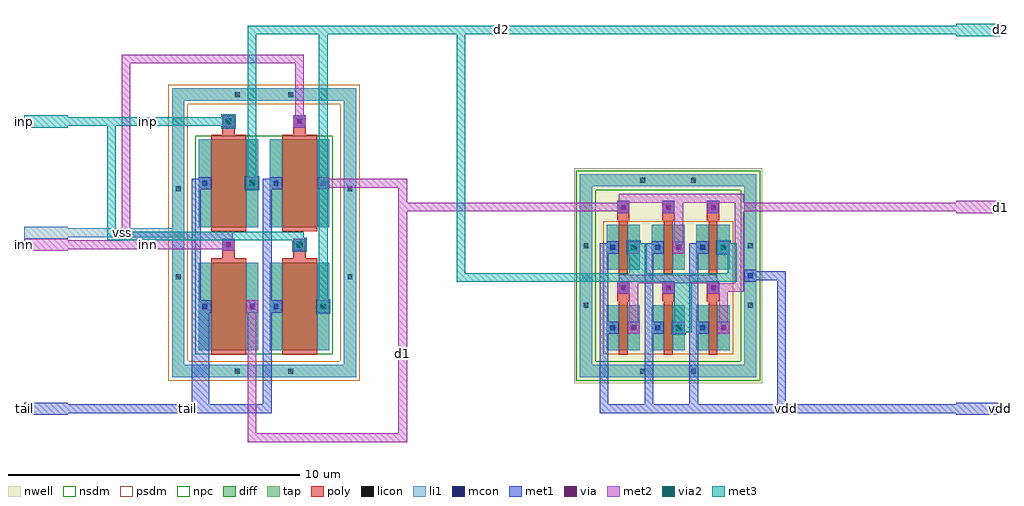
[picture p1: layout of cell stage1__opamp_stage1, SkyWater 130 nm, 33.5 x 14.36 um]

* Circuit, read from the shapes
.subckt stage1__opamp_stage1 d1 d2 inn inp tail vdd vss
XM1 d1 inn tail vss sky130_fd_pr__nfet_01v8 w=3.015 l=1.2 m=2
XM2 d2 inp tail vss sky130_fd_pr__nfet_01v8 w=3.015 l=1.2 m=2
XM3 d1 d1 vdd vdd sky130_fd_pr__pfet_01v8 w=1.545 l=0.3 m=3
XM4 d2 d1 vdd vdd sky130_fd_pr__pfet_01v8 w=1.545 l=0.3 m=3
.ends

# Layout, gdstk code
import gdstk
lib = gdstk.Library(unit=1e-6, precision=1e-09)
def R(c, l, rs):  # rectangles x0, y0, x1, y1
    for r in rs: c.add(gdstk.rectangle(r[:2], r[2:], *l))
def A(c, l, x, y, w, h, nx, ny, dx, dy):  # array of equal rectangles
    R(c, l, [(x+i*dx, y+j*dy, x+i*dx+w, y+j*dy+h) for i in range(nx) for j in range(ny)])
def P(c, l, *ps):  # polygons
    for p in ps: c.add(gdstk.Polygon(p, *l))
nwell = (64, 20)
diff = (65, 20)
tap = (65, 44)
poly = (66, 20)
licon = (66, 44)
li1 = (67, 20)
mcon = (67, 44)
met1 = (68, 20)
via = (68, 44)
met2 = (69, 20)
via2 = (69, 44)
met3 = (70, 20)
nsdm = (93, 44)
psdm = (94, 20)
npc = (95, 20)

pin_vdd__stub_metal2 = lib.new_cell('pin_vdd__stub_metal2')
R(pin_vdd__stub_metal2, met1, [(0,0,1.5,0.42)])

pin_d2__stub_metal4 = lib.new_cell('pin_d2__stub_metal4')
R(pin_d2__stub_metal4, met3, [(0,0,1.5,0.42)])

pin_d1__stub_metal3 = lib.new_cell('pin_d1__stub_metal3')
R(pin_d1__stub_metal3, met2, [(0,0,1.5,0.42)])

pin_inp__stub_metal4 = lib.new_cell('pin_inp__stub_metal4')
R(pin_inp__stub_metal4, met3, [(0,0,1.5,0.42)])

pin_vss__stub_metal = lib.new_cell('pin_vss__stub_metal')
R(pin_vss__stub_metal, li1, [(0,0,1.5,0.42)])

pin_inn__stub_metal3 = lib.new_cell('pin_inn__stub_metal3')
R(pin_inn__stub_metal3, met2, [(0,0,1.5,0.42)])

pin_tail__stub_metal2 = lib.new_cell('pin_tail__stub_metal2')
R(pin_tail__stub_metal2, met1, [(0,0,1.5,0.42)])

mp34__stage1_mirror = lib.new_cell('mp34__stage1_mirror')
R(mp34__stage1_mirror, nwell, [(-1.12,-1.12,5.34,6.25)])
A(mp34__stage1_mirror, diff, 0, 0, 1.14, 1.545, 3, 2, 1.54, 2.765)
R(mp34__stage1_mirror, tap, [(-0.92,-0.92,5.14,-0.5), (-0.92,-0.5,-0.5,5.63), (4.72,-0.5,5.14,5.63), (-0.92,5.63,5.14,6.05)])
A(mp34__stage1_mirror, poly, 0.42, -0.15, 0.3, 1.845, 3, 2, 1.54, 2.765)
A(mp34__stage1_mirror, poly, 0.36, 1.695, 0.42, 0.67, 3, 2, 1.54, 2.765)
A(mp34__stage1_mirror, licon, 0.485, 2.07, 0.17, 0.17, 3, 2, 1.54, 2.765)
R(mp34__stage1_mirror, licon, [(1.155,-0.795,1.325,-0.625), (2.895,-0.795,3.065,-0.625), (0.125,0.685,0.295,0.855), (0.845,0.685,1.015,0.855), (1.665,0.685,1.835,0.855), (2.385,0.685,2.555,0.855), (3.205,0.685,3.375,0.855), (3.925,0.685,4.095,0.855), (-0.795,1.46,-0.625,1.63), (4.845,1.46,5.015,1.63), (0.125,3.455,0.295,3.625), (0.845,3.455,1.015,3.625), (1.665,3.455,1.835,3.625), (2.385,3.455,2.555,3.625), (3.205,3.455,3.375,3.625), (3.925,3.455,4.095,3.625), (-0.795,3.5,-0.625,3.67), (4.845,3.5,5.015,3.67), (1.155,5.755,1.325,5.925), (2.895,5.755,3.065,5.925)])
A(mp34__stage1_mirror, li1, 0.36, 1.945, 0.42, 0.42, 3, 2, 1.54, 2.765)
R(mp34__stage1_mirror, li1, [(-0.92,-0.92,5.14,-0.5), (-0.92,-0.5,-0.5,5.63), (4.72,-0.5,5.14,5.63), (0,0,0.42,1.545), (0.72,0,1.14,1.545), (1.54,0,1.96,1.545), (2.26,0,2.68,1.545), (3.08,0,3.5,1.545), (3.8,0,4.22,1.545), (0,2.765,0.42,4.31), (0.72,2.765,1.14,4.31), (1.54,2.765,1.96,4.31), (2.26,2.765,2.68,4.31), (3.08,2.765,3.5,4.31), (3.8,2.765,4.22,4.31), (-0.92,5.63,5.14,6.05)])
R(mp34__stage1_mirror, nsdm, [(-1.045,-1.045,5.265,-0.375), (-1.045,-0.375,-0.375,5.505), (4.595,-0.375,5.265,5.505), (-1.045,5.505,5.265,6.175)])
R(mp34__stage1_mirror, psdm, [(-0.125,-0.125,4.345,4.435)])
A(mp34__stage1_mirror, npc, 0.385, 1.97, 0.37, 0.37, 3, 2, 1.54, 2.765)

fe_masks__stage1_fe_mask = lib.new_cell('fe_masks__stage1_fe_masks')
R(fe_masks__stage1_fe_mask, poly, [(0.42,-0.15,1.62,0), (2.86,-0.15,4.06,0), (0.42,3.015,1.62,3.165), (2.86,3.015,4.06,3.165), (0.42,4.085,1.62,4.235), (2.86,4.085,4.06,4.235), (0.42,7.25,1.62,7.4), (2.86,7.25,4.06,7.4)])
R(fe_masks__stage1_fe_mask, nsdm, [(-0.125,-0.125,4.605,7.375)])
R(fe_masks__stage1_fe_mask, psdm, [(-1.045,-1.045,5.525,-0.375), (-1.045,-0.375,-0.375,8.445), (4.855,-0.375,5.525,8.445), (-1.045,8.445,5.525,9.115)])
R(fe_masks__stage1_fe_mask, npc, [(0.835,3.44,1.205,3.81), (3.275,3.44,3.645,3.81), (0.835,7.675,1.205,8.045), (3.275,7.675,3.645,8.045)])

diff_pair = lib.new_cell('diff_pair')
R(diff_pair, diff, [(0,0,2.04,3.015), (2.44,0,4.48,3.015), (0,4.235,2.04,7.25), (2.44,4.235,4.48,7.25)])
P(diff_pair, tap, [(-0.92,-0.92),(-0.92,8.57),(-0.5,8.57),(-0.5,-0.5),(4.98,-0.5),(4.98,8.57),(-0.92,8.57),(-0.92,8.99),(5.4,8.99),(5.4,-0.92)])
R(diff_pair, poly, [(0.42,0,1.62,3.015), (2.86,0,4.06,3.015), (0.81,3.015,1.23,3.835), (3.25,3.015,3.67,3.835), (0.42,4.235,1.62,7.25), (2.86,4.235,4.06,7.25), (0.81,7.25,1.23,8.07), (3.25,7.25,3.67,8.07)])
R(diff_pair, licon, [(1.24,-0.795,1.41,-0.625), (3.07,-0.795,3.24,-0.625), (0.125,1.425,0.295,1.595), (1.745,1.425,1.915,1.595), (2.565,1.425,2.735,1.595), (4.185,1.425,4.355,1.595), (-0.795,2.44,-0.625,2.61), (5.105,2.44,5.275,2.61), (0.935,3.54,1.105,3.71), (3.375,3.54,3.545,3.71), (-0.795,5.46,-0.625,5.63), (5.105,5.46,5.275,5.63), (0.125,5.655,0.295,5.825), (1.745,5.655,1.915,5.825), (2.565,5.655,2.735,5.825), (4.185,5.655,4.355,5.825), (0.935,7.775,1.105,7.945), (3.375,7.775,3.545,7.945), (1.24,8.695,1.41,8.865), (3.07,8.695,3.24,8.865)])
R(diff_pair, li1, [(0,0,0.42,3.015), (1.62,0,2.04,3.015), (2.44,0,2.86,3.015), (4.06,0,4.48,3.015), (0.81,3.415,1.23,3.835), (3.25,3.415,3.67,3.835), (0,4.235,0.42,7.25), (1.62,4.235,2.04,7.25), (2.44,4.235,2.86,7.25), (4.06,4.235,4.48,7.25), (0.81,7.65,1.23,8.07), (3.25,7.65,3.67,8.07)])
P(diff_pair, li1, [(-0.92,-0.92),(-0.92,8.57),(-0.5,8.57),(-0.5,-0.5),(4.98,-0.5),(4.98,8.57),(-0.92,8.57),(-0.92,8.99),(5.4,8.99),(5.4,-0.92)])

mn12__stage1_input_pair = lib.new_cell('mn12__stage1_input_pair')
mn12__stage1_input_pair.add(gdstk.Reference(diff_pair, (0,0)))

stage1__opamp_stage1 = lib.new_cell('stage1__opamp_stage1')
R(stage1__opamp_stage1, li1, [(14,0.565,14.42,0.985), (14,0.565,14.42,0.985), (14.72,0.565,15.14,0.985), (15.54,0.565,15.96,0.985), (15.54,0.565,15.96,0.985), (16.26,0.565,16.68,0.985), (16.26,0.565,16.68,0.985), (17.08,0.565,17.5,0.985), (17.08,0.565,17.5,0.985), (17.8,0.565,18.22,0.985), (0,1.295,0.42,1.715), (0,1.295,0.42,1.715), (0,1.295,0.42,1.715), (1.62,1.295,2.04,1.715), (2.44,1.295,2.86,1.715), (2.44,1.295,2.86,1.715), (4.06,1.295,4.48,1.715), (14.36,1.945,14.78,2.365), (14.36,1.945,14.78,2.365), (15.9,1.945,16.32,2.365), (15.9,1.945,16.32,2.365), (17.44,1.945,17.86,2.365), (17.44,1.945,17.86,2.365), (17.44,1.945,17.86,2.365), (18.72,2.355,19.14,2.775), (14,3.325,14.42,3.745), (14.72,3.325,15.14,3.745), (14.72,3.325,15.14,3.745), (15.54,3.325,15.96,3.745), (16.26,3.325,16.68,3.745), (17.08,3.325,17.5,3.745), (17.8,3.325,18.22,3.745), (0.81,3.415,1.23,3.835), (0.81,3.415,1.23,3.835), (3.25,3.415,3.67,3.835), (14.36,4.71,14.78,5.13), (14.36,4.71,14.78,5.13), (14.36,4.71,14.78,5.13), (15.9,4.71,16.32,5.13), (15.9,4.71,16.32,5.13), (15.9,4.71,16.32,5.13), (17.44,4.71,17.86,5.13), (17.44,4.71,17.86,5.13), (17.44,4.71,17.86,5.13), (0,5.53,0.42,5.95), (1.62,5.53,2.04,5.95), (1.62,5.53,2.04,5.95), (2.44,5.53,2.86,5.95), (4.06,5.53,4.48,5.95), (0.81,7.65,1.23,8.07), (0.81,7.65,1.23,8.07), (3.25,7.65,3.67,8.07)])
R(stage1__opamp_stage1, mcon, [(14.125,0.69,14.295,0.86), (14.125,0.69,14.295,0.86), (14.845,0.69,15.015,0.86), (15.665,0.69,15.835,0.86), (15.665,0.69,15.835,0.86), (16.385,0.69,16.555,0.86), (16.385,0.69,16.555,0.86), (17.205,0.69,17.375,0.86), (17.205,0.69,17.375,0.86), (17.925,0.69,18.095,0.86), (0.125,1.42,0.295,1.59), (0.125,1.42,0.295,1.59), (0.125,1.42,0.295,1.59), (1.745,1.42,1.915,1.59), (2.565,1.42,2.735,1.59), (2.565,1.42,2.735,1.59), (4.185,1.42,4.355,1.59), (14.485,2.07,14.655,2.24), (14.485,2.07,14.655,2.24), (16.025,2.07,16.195,2.24), (16.025,2.07,16.195,2.24), (17.565,2.07,17.735,2.24), (17.565,2.07,17.735,2.24), (17.565,2.07,17.735,2.24), (18.845,2.48,19.015,2.65), (14.125,3.45,14.295,3.62), (14.845,3.45,15.015,3.62), (14.845,3.45,15.015,3.62), (15.665,3.45,15.835,3.62), (16.385,3.45,16.555,3.62), (17.205,3.45,17.375,3.62), (17.925,3.45,18.095,3.62), (0.935,3.54,1.105,3.71), (0.935,3.54,1.105,3.71), (3.375,3.54,3.545,3.71), (14.485,4.835,14.655,5.005), (14.485,4.835,14.655,5.005), (14.485,4.835,14.655,5.005), (16.025,4.835,16.195,5.005), (16.025,4.835,16.195,5.005), (16.025,4.835,16.195,5.005), (17.565,4.835,17.735,5.005), (17.565,4.835,17.735,5.005), (17.565,4.835,17.735,5.005), (0.125,5.655,0.295,5.825), (1.745,5.655,1.915,5.825), (1.745,5.655,1.915,5.825), (2.565,5.655,2.735,5.825), (4.185,5.655,4.355,5.825), (0.935,7.775,1.105,7.945), (0.935,7.775,1.105,7.945), (3.375,7.775,3.545,7.945)])
R(stage1__opamp_stage1, met1, [(14,0.565,14.42,0.985), (14,0.565,14.42,0.985), (14.72,0.565,15.14,0.985), (14.72,0.565,15.14,0.985), (15.54,0.565,15.96,0.985), (15.54,0.565,15.96,0.985), (16.26,0.565,16.68,0.985), (16.26,0.565,16.68,0.985), (16.26,0.565,16.68,0.985), (16.26,0.565,16.68,0.985), (17.08,0.565,17.5,0.985), (17.08,0.565,17.5,0.985), (17.8,0.565,18.22,0.985), (17.8,0.565,18.22,0.985), (0,1.295,0.42,1.715), (0,1.295,0.42,1.715), (0,1.295,0.42,1.715), (1.62,1.295,2.04,1.715), (1.62,1.295,2.04,1.715), (2.44,1.295,2.86,1.715), (2.44,1.295,2.86,1.715), (4.06,1.295,4.48,1.715), (4.06,1.295,4.48,1.715), (14.36,1.945,14.78,2.365), (14.36,1.945,14.78,2.365), (14.36,1.945,14.78,2.365), (14.36,1.945,14.78,2.365), (15.9,1.945,16.32,2.365), (15.9,1.945,16.32,2.365), (15.9,1.945,16.32,2.365), (15.9,1.945,16.32,2.365), (17.44,1.945,17.86,2.365), (17.44,1.945,17.86,2.365), (17.44,1.945,17.86,2.365), (17.44,1.945,17.86,2.365), (17.44,1.945,17.86,2.365), (17.44,1.945,17.86,2.365), (18.72,2.355,19.14,2.775), (14,3.325,14.42,3.745), (14.72,3.325,15.14,3.745), (14.72,3.325,15.14,3.745), (14.72,3.325,15.14,3.745), (14.72,3.325,15.14,3.745), (15.54,3.325,15.96,3.745), (16.26,3.325,16.68,3.745), (16.26,3.325,16.68,3.745), (17.08,3.325,17.5,3.745), (17.8,3.325,18.22,3.745), (17.8,3.325,18.22,3.745), (0.81,3.415,1.23,3.835), (0.81,3.415,1.23,3.835), (0.81,3.415,1.23,3.835), (0.81,3.415,1.23,3.835), (3.25,3.415,3.67,3.835), (3.25,3.415,3.67,3.835), (14.36,4.71,14.78,5.13), (14.36,4.71,14.78,5.13), (14.36,4.71,14.78,5.13), (14.36,4.71,14.78,5.13), (14.36,4.71,14.78,5.13), (14.36,4.71,14.78,5.13), (15.9,4.71,16.32,5.13), (15.9,4.71,16.32,5.13), (15.9,4.71,16.32,5.13), (15.9,4.71,16.32,5.13), (15.9,4.71,16.32,5.13), (15.9,4.71,16.32,5.13), (17.44,4.71,17.86,5.13), (17.44,4.71,17.86,5.13), (17.44,4.71,17.86,5.13), (17.44,4.71,17.86,5.13), (17.44,4.71,17.86,5.13), (17.44,4.71,17.86,5.13), (0,5.53,0.42,5.95), (1.62,5.53,2.04,5.95), (1.62,5.53,2.04,5.95), (1.62,5.53,2.04,5.95), (1.62,5.53,2.04,5.95), (2.44,5.53,2.86,5.95), (4.06,5.53,4.48,5.95), (4.06,5.53,4.48,5.95), (0.81,7.65,1.23,8.07), (0.81,7.65,1.23,8.07), (0.81,7.65,1.23,8.07), (0.81,7.65,1.23,8.07), (3.25,7.65,3.67,8.07), (3.25,7.65,3.67,8.07)])
A(stage1__opamp_stage1, via, 14.855, 3.46, 0.15, 0.15, 3, 1, 1.54, 0)
R(stage1__opamp_stage1, via, [(14.855,0.7,15.005,0.85), (16.395,0.7,16.545,0.85), (16.395,0.7,16.545,0.85), (17.935,0.7,18.085,0.85), (1.755,1.43,1.905,1.58), (4.195,1.43,4.345,1.58), (14.495,2.08,14.645,2.23), (14.495,2.08,14.645,2.23), (16.035,2.08,16.185,2.23), (16.035,2.08,16.185,2.23), (17.575,2.08,17.725,2.23), (17.575,2.08,17.725,2.23), (17.575,2.08,17.725,2.23), (14.855,3.46,15.005,3.61), (0.945,3.55,1.095,3.7), (0.945,3.55,1.095,3.7), (3.385,3.55,3.535,3.7), (14.495,4.845,14.645,4.995), (14.495,4.845,14.645,4.995), (14.495,4.845,14.645,4.995), (16.035,4.845,16.185,4.995), (16.035,4.845,16.185,4.995), (16.035,4.845,16.185,4.995), (17.575,4.845,17.725,4.995), (17.575,4.845,17.725,4.995), (17.575,4.845,17.725,4.995), (1.755,5.665,1.905,5.815), (1.755,5.665,1.905,5.815), (4.195,5.665,4.345,5.815), (0.945,7.785,1.095,7.935), (0.945,7.785,1.095,7.935), (3.385,7.785,3.535,7.935)])
A(stage1__opamp_stage1, met2, 14.72, 3.325, 0.42, 0.42, 3, 1, 1.54, 0)
R(stage1__opamp_stage1, met2, [(14.72,0.565,15.14,0.985), (16.26,0.565,16.68,0.985), (16.26,0.565,16.68,0.985), (16.26,0.565,16.68,0.985), (16.26,0.565,16.68,0.985), (17.8,0.565,18.22,0.985), (1.62,1.295,2.04,1.715), (4.06,1.295,4.48,1.715), (4.06,1.295,4.48,1.715), (14.36,1.945,14.78,2.365), (14.36,1.945,14.78,2.365), (15.9,1.945,16.32,2.365), (15.9,1.945,16.32,2.365), (17.44,1.945,17.86,2.365), (17.44,1.945,17.86,2.365), (17.44,1.945,17.86,2.365), (14.72,3.325,15.14,3.745), (14.72,3.325,15.14,3.745), (14.72,3.325,15.14,3.745), (17.8,3.325,18.22,3.745), (0.81,3.415,1.23,3.835), (0.81,3.415,1.23,3.835), (3.25,3.415,3.67,3.835), (3.25,3.415,3.67,3.835), (14.36,4.71,14.78,5.13), (14.36,4.71,14.78,5.13), (14.36,4.71,14.78,5.13), (15.9,4.71,16.32,5.13), (15.9,4.71,16.32,5.13), (15.9,4.71,16.32,5.13), (17.44,4.71,17.86,5.13), (17.44,4.71,17.86,5.13), (17.44,4.71,17.86,5.13), (1.62,5.53,2.04,5.95), (1.62,5.53,2.04,5.95), (1.62,5.53,2.04,5.95), (1.62,5.53,2.04,5.95), (4.06,5.53,4.48,5.95), (0.81,7.65,1.23,8.07), (0.81,7.65,1.23,8.07), (0.81,7.65,1.23,8.07), (0.81,7.65,1.23,8.07), (3.25,7.65,3.67,8.07)])
R(stage1__opamp_stage1, via2, [(16.37,0.675,16.57,0.875), (16.37,0.675,16.57,0.875), (4.17,1.405,4.37,1.605), (14.83,3.435,15.03,3.635), (14.83,3.435,15.03,3.635), (17.91,3.435,18.11,3.635), (3.36,3.525,3.56,3.725), (1.73,5.64,1.93,5.84), (1.73,5.64,1.93,5.84), (0.92,7.76,1.12,7.96), (0.92,7.76,1.12,7.96)])
R(stage1__opamp_stage1, met3, [(16.225,0.53,16.715,1.02), (16.225,0.53,16.715,1.02), (4.025,1.26,4.515,1.75), (14.685,3.29,15.175,3.78), (14.685,3.29,15.175,3.78), (17.765,3.29,18.255,3.78), (3.215,3.38,3.705,3.87), (1.585,5.495,2.075,5.985), (1.585,5.495,2.075,5.985), (0.775,7.615,1.265,8.105), (0.775,7.615,1.265,8.105)])
stage1__opamp_stage1.add(gdstk.FlexPath([(-0.71,4.035),(-4.5,4.035)], 0.3, ends="flush", simple_path=True, layer=67, datatype=20))  # li1
stage1__opamp_stage1.add(gdstk.FlexPath([(1.83,1.505),(1.83,-3),(7,-3),(7,4.92),(14.57,4.92),(14.57,4.92)], 0.3, ends="flush", simple_path=True, layer=69, datatype=20))  # met2
stage1__opamp_stage1.add(gdstk.FlexPath([(4.27,5.74),(7,5.74),(7,4.92),(14.57,4.92),(14.57,4.92)], 0.3, ends="flush", simple_path=True, layer=69, datatype=20))  # met2
stage1__opamp_stage1.add(gdstk.FlexPath([(14.57,4.92),(14.57,5.22),(16.11,5.22),(16.11,4.92)], 0.3, ends="flush", simple_path=True, layer=69, datatype=20))  # met2
stage1__opamp_stage1.add(gdstk.FlexPath([(16.11,4.92),(16.11,5.22),(17.65,5.22),(17.65,4.92)], 0.3, ends="flush", simple_path=True, layer=69, datatype=20))  # met2
stage1__opamp_stage1.add(gdstk.FlexPath([(16.47,3.535),(16.47,4.92),(16.11,4.92),(16.11,4.92)], 0.3, ends="flush", simple_path=True, layer=69, datatype=20))  # met2
stage1__opamp_stage1.add(gdstk.FlexPath([(17.65,4.92),(17.65,5.22),(18.55,5.22),(18.55,2.155),(17.65,2.155),(17.65,2.155)], 0.3, ends="flush", simple_path=True, layer=69, datatype=20))  # met2
stage1__opamp_stage1.add(gdstk.FlexPath([(17.65,2.155),(17.65,2.455),(16.11,2.455),(16.11,2.155)], 0.3, ends="flush", simple_path=True, layer=69, datatype=20))  # met2
stage1__opamp_stage1.add(gdstk.FlexPath([(16.11,2.155),(16.11,2.455),(14.57,2.455),(14.57,2.155)], 0.3, ends="flush", simple_path=True, layer=69, datatype=20))  # met2
stage1__opamp_stage1.add(gdstk.FlexPath([(14.93,0.775),(14.93,2.155),(14.57,2.155),(14.57,2.155)], 0.3, ends="flush", simple_path=True, layer=69, datatype=20))  # met2
stage1__opamp_stage1.add(gdstk.FlexPath([(18.01,0.775),(18.01,2.155),(17.65,2.155),(17.65,2.155)], 0.3, ends="flush", simple_path=True, layer=69, datatype=20))  # met2
stage1__opamp_stage1.add(gdstk.FlexPath([(17.65,4.92),(17.65,5.22),(18.55,5.22),(18.55,4.92),(26,4.92)], 0.3, ends="flush", simple_path=True, layer=69, datatype=20))  # met2
stage1__opamp_stage1.add(gdstk.FlexPath([(-4.5,3.625),(1.02,3.625),(1.02,3.625)], 0.3, ends="flush", simple_path=True, layer=69, datatype=20))  # met2
stage1__opamp_stage1.add(gdstk.FlexPath([(1.02,3.625),(1.02,3.925),(-2.5,3.925),(-2.5,10),(3.46,10),(3.46,7.86)], 0.3, ends="flush", simple_path=True, layer=69, datatype=20))  # met2
stage1__opamp_stage1.add(gdstk.FlexPath([(-4.5,-2),(-0.09,-2),(-0.09,1.505),(0.21,1.505)], 0.3, ends="flush", simple_path=True, layer=68, datatype=20))  # met1
stage1__opamp_stage1.add(gdstk.FlexPath([(0.21,1.505),(0.21,-2),(2.35,-2),(2.35,1.505),(2.65,1.505)], 0.3, ends="flush", simple_path=True, layer=68, datatype=20))  # met1
stage1__opamp_stage1.add(gdstk.FlexPath([(0.21,1.505),(-0.09,1.505),(-0.09,5.74),(0.21,5.74)], 0.3, ends="flush", simple_path=True, layer=68, datatype=20))  # met1
stage1__opamp_stage1.add(gdstk.FlexPath([(2.65,1.505),(2.35,1.505),(2.35,5.74),(2.65,5.74)], 0.3, ends="flush", simple_path=True, layer=68, datatype=20))  # met1
stage1__opamp_stage1.add(gdstk.FlexPath([(26,-2),(20,-2),(20,2.565),(18.93,2.565)], 0.3, ends="flush", simple_path=True, layer=68, datatype=20))  # met1
stage1__opamp_stage1.add(gdstk.FlexPath([(26,-2),(13.91,-2),(13.91,0.775),(14.21,0.775)], 0.3, ends="flush", simple_path=True, layer=68, datatype=20))  # met1
stage1__opamp_stage1.add(gdstk.FlexPath([(26,-2),(15.45,-2),(15.45,0.775),(15.75,0.775)], 0.3, ends="flush", simple_path=True, layer=68, datatype=20))  # met1
stage1__opamp_stage1.add(gdstk.FlexPath([(26,-2),(16.99,-2),(16.99,0.775),(17.29,0.775)], 0.3, ends="flush", simple_path=True, layer=68, datatype=20))  # met1
stage1__opamp_stage1.add(gdstk.FlexPath([(14.21,0.775),(13.91,0.775),(13.91,3.535),(14.21,3.535)], 0.3, ends="flush", simple_path=True, layer=68, datatype=20))  # met1
stage1__opamp_stage1.add(gdstk.FlexPath([(15.75,0.775),(15.45,0.775),(15.45,3.535),(15.75,3.535)], 0.3, ends="flush", simple_path=True, layer=68, datatype=20))  # met1
stage1__opamp_stage1.add(gdstk.FlexPath([(17.29,0.775),(16.99,0.775),(16.99,3.535),(17.29,3.535)], 0.3, ends="flush", simple_path=True, layer=68, datatype=20))  # met1
stage1__opamp_stage1.add(gdstk.FlexPath([(4.27,1.505),(4.27,11),(26,11)], 0.3, ends="flush", simple_path=True, layer=70, datatype=20))  # met3
stage1__opamp_stage1.add(gdstk.FlexPath([(1.83,5.74),(1.83,11),(26,11)], 0.3, ends="flush", simple_path=True, layer=70, datatype=20))  # met3
stage1__opamp_stage1.add(gdstk.FlexPath([(1.83,5.74),(1.83,11),(9,11),(9,2.5),(15.23,2.5),(15.23,3.535),(14.93,3.535)], 0.3, ends="flush", simple_path=True, layer=70, datatype=20))  # met3
stage1__opamp_stage1.add(gdstk.FlexPath([(14.93,3.535),(14.93,2.5),(16.77,2.5),(16.77,0.775),(16.47,0.775)], 0.3, ends="flush", simple_path=True, layer=70, datatype=20))  # met3
stage1__opamp_stage1.add(gdstk.FlexPath([(16.47,0.775),(16.47,2.5),(18.31,2.5),(18.31,3.535),(18.01,3.535)], 0.3, ends="flush", simple_path=True, layer=70, datatype=20))  # met3
stage1__opamp_stage1.add(gdstk.FlexPath([(-4.5,7.86),(1.02,7.86),(1.02,7.86)], 0.3, ends="flush", simple_path=True, layer=70, datatype=20))  # met3
stage1__opamp_stage1.add(gdstk.FlexPath([(3.46,3.625),(3.46,3.925),(-3,3.925),(-3,7.86),(1.02,7.86),(1.02,7.86)], 0.3, ends="flush", simple_path=True, layer=70, datatype=20))  # met3
stage1__opamp_stage1.add(gdstk.Reference(pin_vdd__stub_metal2, (26,-2.21)))
stage1__opamp_stage1.add(gdstk.Reference(pin_d2__stub_metal4, (26,10.79)))
stage1__opamp_stage1.add(gdstk.Reference(pin_d1__stub_metal3, (26,4.71)))
stage1__opamp_stage1.add(gdstk.Reference(pin_inp__stub_metal4, (-6,7.65)))
stage1__opamp_stage1.add(gdstk.Reference(pin_vss__stub_metal, (-6,3.825)))
stage1__opamp_stage1.add(gdstk.Reference(pin_inn__stub_metal3, (-6,3.415)))
stage1__opamp_stage1.add(gdstk.Reference(pin_tail__stub_metal2, (-6,-2.21)))
stage1__opamp_stage1.add(gdstk.Reference(mp34__stage1_mirror, (14,0)))
stage1__opamp_stage1.add(gdstk.Reference(fe_masks__stage1_fe_mask, (0,0)))
stage1__opamp_stage1.add(gdstk.Reference(mn12__stage1_input_pair, (0,0)))
stage1__opamp_stage1.add(gdstk.Label('tail', (-0.393,-2), layer=68, texttype=5))
stage1__opamp_stage1.add(gdstk.Label('vdd', (20.182,-2), layer=68, texttype=5))
stage1__opamp_stage1.add(gdstk.Label('tail', (-6,-2), layer=68, texttype=5))
stage1__opamp_stage1.add(gdstk.Label('vdd', (27.5,-2), layer=68, texttype=5))
stage1__opamp_stage1.add(gdstk.Label('d1', (7,-0.093), layer=69, texttype=5))
stage1__opamp_stage1.add(gdstk.Label('inn', (-1.74,3.625), layer=69, texttype=5))
stage1__opamp_stage1.add(gdstk.Label('inn', (-6,3.625), layer=69, texttype=5))
stage1__opamp_stage1.add(gdstk.Label('d1', (27.5,4.92), layer=69, texttype=5))
stage1__opamp_stage1.add(gdstk.Label('d2', (10.387,11), layer=70, texttype=5))
stage1__opamp_stage1.add(gdstk.Label('inp', (-1.74,7.86), layer=70, texttype=5))
stage1__opamp_stage1.add(gdstk.Label('inp', (-6,7.86), layer=70, texttype=5))
stage1__opamp_stage1.add(gdstk.Label('d2', (27.5,11), layer=70, texttype=5))
stage1__opamp_stage1.add(gdstk.Label('vss', (-2.605,4.035), layer=67, texttype=5))
stage1__opamp_stage1.add(gdstk.Label('vss', (-6,4.035), layer=67, texttype=5))

lib.write_gds('stage1__opamp_stage1.gds')
